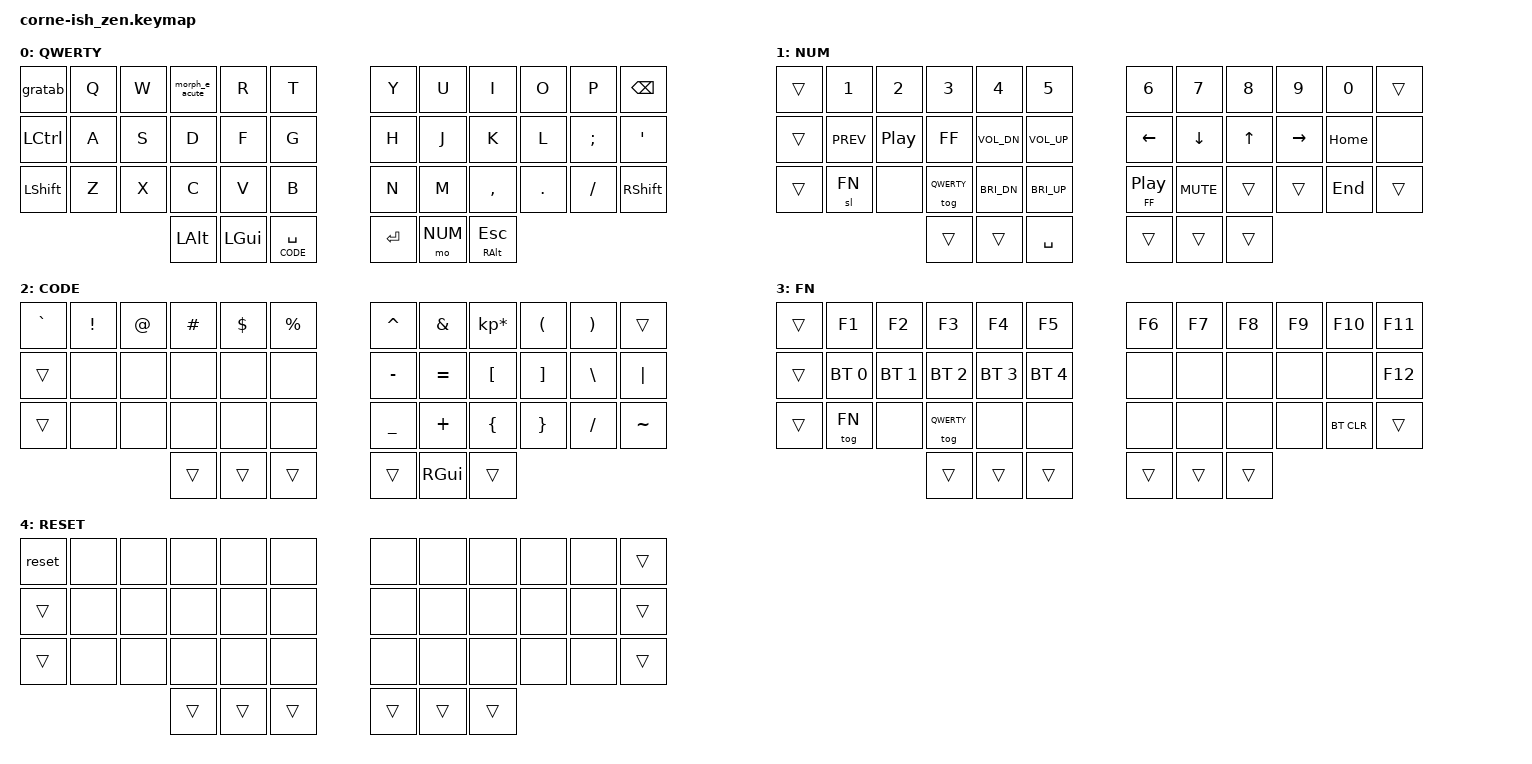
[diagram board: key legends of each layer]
/*
*
* Copyright (c) 2021 Darryl deHaan
* SPDX-License-Identifier: MIT
*
*/

/* Corne-ish Zen key positions
  ╭────────────────────────╮ ╭────────────────────────╮
  │  0   1   2   3   4   5 │ │  6   7   8   9  10  11 │
  │ 12  13  14  15  16  17 │ │ 18  19  20  21  22  23 │
  │ 24  25  26  27  28  29 │ │ 30  31  32  33  34  35 │
  ╰───────────╮ 36  37  38 │ │ 39  40  41 ╭───────────╯
              ╰────────────╯ ╰────────────╯            */

#include <behaviors.dtsi>
#include <dt-bindings/zmk/keys.h>
#include <dt-bindings/zmk/bt.h>
#include "zmk-helpers/helper.h"

#undef CONFIG_ZMK_MACRO_DEFAULT_WAIT_MS
#define CONFIG_ZMK_MACRO_DEFAULT_WAIT_MS 30

#undef CONFIG_ZMK_MACRO_DEFAULT_TAP_MS
#define CONFIG_ZMK_MACRO_DEFAULT_TAP_MS 40

#define QWERTY 0
#define NUM    1
#define CODE   2
#define FN     3

// First define the acute accent macro (similar to how AIGU is defined in the file)
ZMK_MACRO_ONE_PARAM(ACUTE, bindings =
    <&kp RA(E)>,                    // First press AltGr+E for the acute accent
    <&macro_param_1to1>,            // Then press the parameter (E or Shift+E)
    <&macro_tap &kp MACRO_PLACEHOLDER>;
)

// Then create a mod-morph that will output é or É depending on Shift
ZMK_MOD_MORPH(morph_e_acute, 
    bindings = <&ACUTE E>, <&ACUTE LS(E)>;  // Without/with Shift
    mods = <(MOD_LSFT|MOD_RSFT)>;          // Trigger on either Shift key
)

/ {
  chosen {
    zmk,matrix_transform = &default_transform;
    //zmk,matrix_transform = &five_column_transform;
  };
  combos {
      compatible = "zmk,combos";
      combo._esc {
          timeout-ms = <60>;
          key-positions = <0 1>;
          layers = <0 1 2>;
          bindings = <&kp ESC>;
      };
      combo_scrnsht_all {
          timeout-ms = <150>;
          key-positions = <3 24 37>;
          bindings = <&kp LS(RG(N3))>;
      };
      combo_scrnsht_area {
          timeout-ms = <150>;
          key-positions = <4 24 37>;
          bindings = <&kp LS(RG(N4))>;
      };
      combo_scrnsht_window {
          timeout-ms = <150>;
          key-positions = <5 24 37>;
          bindings = <&kp LS(RG(N5))>;
      };
      combo_caps_lock {
          timeout-ms = <60>;
          key-positions = <12 13 14>;
          layers = <0 1 2>;
          bindings = <&kp CAPS>;
      };
      combo_combo_del {
          timeout-ms = <60>;
          key-positions = <11 40>;
          bindings = <&kp LG(BSPC)>;
      };
  };
};

/ {

        behaviors {
            gratab: grave_tab {
                compatible = "zmk,behavior-mod-morph";
                label = "GRAVE_TAB";
                #binding-cells = <0>;
                bindings = <&kp TAB>, <&kp GRAVE>;
                mods = <(MOD_RALT|MOD_LALT)>;
            };
            // grav_a: grave_a {
            //     compatible = "zmk,behavior-mod-morph";
            //     label = "GRAVE_A";
            //     #binding-cells = <0>;
            //     bindings = <&kp A>, <&grave_a_macro>;
            //     mods = <MOD_RALT>;
            // };
            // acu_E: acute_e {
            //     compatible = "zmk,behavior-mod-morph";
            //     label = "ACUTE_E";
            //     #binding-cells = <0>;
            //     bindings = <&kp E>, <&acute_e_macro>;
            //     mods = <MOD_RALT>;
            // };
        };

        // TODO check https://github.com/JeffDess/zmk-config/blob/accents-no-unicode/layouts/canadian-multilingual-standard.dtsi
        // macros {
        //     grave_a_macro: grave_a_macro {
        //         compatible = "zmk,behavior-macro";
        //         label = "GRAVE_A_MACRO";
        //         #binding-cells = <0>;
        //         bindings = <&kp RA(GRAVE) &kp A>;
        //     };
        //     acute_e_macro: acute_e_macro {
        //         compatible = "zmk,behavior-macro";
        //         label = "ACUTE_E_MACRO";
        //         #binding-cells = <0>;
        //         bindings = <&kp RA(E) &kp E>;
        //     };
        // };

        keymap {
                compatible = "zmk,keymap";

                default_layer {
                        label = "QWERTY";

// --------------------------------------------------------------------------------------
// | TAB ⌥ (`) |  Q  |  W  |  E  |  R  |  T    |      |  Y  |  U   |  I    |  O  |  P  | BKSP  |
// |   CTRL    |  A  |  S  |  D  |  F  |  G    |      |  H  |  J   |  K    |  L  |  ;  |  '    |
// |   SHFT    |  Z  |  X  |  C  |  V  |  B    |      |  N  |  M   |  ,    |  .  |  /  | SHFT  |
//                         |  ⌥  |  ⌘  | SPC 2 |      | RET | NUM  | ESC ⌥ |

                        bindings = <
   &gratab    &kp Q  &kp W &morph_e_acute &kp R &kp T      &kp Y &kp U  &kp I     &kp O   &kp P     &kp BSPC
   &kp LCTRL  &kp A  &kp S &kp D  &kp F &kp G      &kp H &kp J  &kp K     &kp L   &kp SEMI  &kp SQT
   &kp LSHFT  &kp Z  &kp X &kp C  &kp V &kp B      &kp N &kp M  &kp COMMA &kp DOT &kp FSLH  &kp RSHFT
              &kp LALT &kp LGUI  &lt CODE SPACE   &kp RET &mo NUM &mt RALT ESC
                        >;
                };

                num_layer {
                        label = "NUM";

// ----------------------------------------------------------------------------------
// | TAB  |  1   |  2     |    3     |  4  |  5  |      |  6  |  7   |  8    |  9  |  0  | BKSP |
// | CTRL |  |<  |  ▶II   |    >|    | V↓  | V↑  |      | LFT | DWN  |  UP   | RGT | HOM |      |
// | SHFT | S FN |        | T QWERTY | ☀️ ↓ | ☀️ ↑ |      | ▶II | VM   |  ,    |  .  | END | SHFT |
//                        |  ⌥       |  ⌘  | SPC |      | RET | NUM  | ESC ⌥ |

                        bindings = <
   &trans  &kp N1     &kp N2    &kp N3      &kp N4        &kp N5           &kp N6         &kp N7     &kp N8  &kp N9    &kp N0   &trans
   &trans  &kp C_PREV &kp C_PP  &kp C_FF    &kp C_VOL_DN  &kp C_VOL_UP     &kp LEFT       &kp DOWN   &kp UP  &kp RIGHT &kp HOME &none
   &trans  &sl FN     &none     &tog QWERTY &kp C_BRI_DN  &kp C_BRI_UP     &mt C_FF C_PP  &kp C_MUTE &trans  &trans    &kp END  &trans
                                &trans      &trans        &kp SPACE        &trans         &trans     &trans
                        >;
                };

                code_layer {
                        label = "CODE";

// ----------------------------------------------------------------------------------
// |  `   |  !  |  @  |  #  |  $  |  %    |      |  ^  |  &  |  *  |  (  |  )  | BKSP |
// | CTRL |     |     |     |     |       |      |  -  |  =  |  [  |  ]  |  \  |  "|" |
// | SHFT |     |     |     |     |       |      |  _  |  +  |  {  |  }  |  /  |  ~   |
//                    |  ⌥  |  ⌘  | SPC 2 |      | RET |  ⌘  | ESC ⌥ |

                        bindings = <
   &kp GRAVE &kp EXCL &kp AT &kp HASH &kp DLLR &kp PRCNT   &kp CARET &kp AMPS  &kp KP_MULTIPLY &kp LPAR &kp RPAR &trans
   &trans    &none    &none  &none    &none    &none       &kp MINUS &kp EQUAL &kp LBKT        &kp RBKT &kp BSLH &kp PIPE
   &trans    &none    &none  &none    &none    &none       &kp UNDER &kp PLUS  &kp LBRC        &kp RBRC &kp FSLH &kp TILDE
                             &trans   &trans   &trans      &trans    &kp RGUI   &trans
                        >;
                };

                function_layer {
                        label = "FN";

// ---------------------------------------------------------------------------------
// | TAB  | F1   | F2     | F3       | F4  | F5    |      | F6  | F7  | F8  | F9  | F10   |  F11  |
// | CTRL | BT1  | BT2    | BT3      | BT4 | BT5   |      |     |     |     |     |       |  F12  |
// | SHFT | T FN |        | T QWERTY |     |       |      |     |     |     |     | BTCLR |  SHFT |
//                        |    ⌥     |  ⌘  | SPC 2 |      | RET |  ⌘  |  ⌥  |

                        bindings = <
   &trans &kp F1       &kp F2       &kp F3       &kp F4       &kp F5           &kp F6   &kp F7   &kp F8  &kp F9  &kp F10    &kp F11
   &trans &bt BT_SEL 0 &bt BT_SEL 1 &bt BT_SEL 2 &bt BT_SEL 3 &bt BT_SEL 4     &none    &none    &none   &none   &none      &kp F12
   &trans &tog FN      &none        &tog QWERTY  &none        &none            &none    &none    &none   &none   &bt BT_CLR &trans
                                    &trans       &trans       &trans           &trans   &trans   &trans
                        >;
                };

// ---------------------------------------------------------------------------------------------------------------------------------------------------------------
// NOTE: reset layer's only purpose is to have &reset somewhere on the keymap, otherwise &lt or &mt won't work.
// NOTE: this issue is documented in LowPro Discord chatter rather than on GitHub.
// ---------------------------------------------------------------------------------------------------------------------------------------------------------------
                unused_reset_layer {
                        label = "RESET";
                        bindings = <
   &reset &none &none &none  &none  &none     &none  &none  &none &none &none &trans
   &trans &none &none &none  &none  &none     &none  &none  &none &none &none &trans
   &trans &none &none &none  &none  &none     &none  &none  &none &none &none &trans
                      &trans &trans &trans    &trans &trans &trans
                        >;
                };
        };
};
